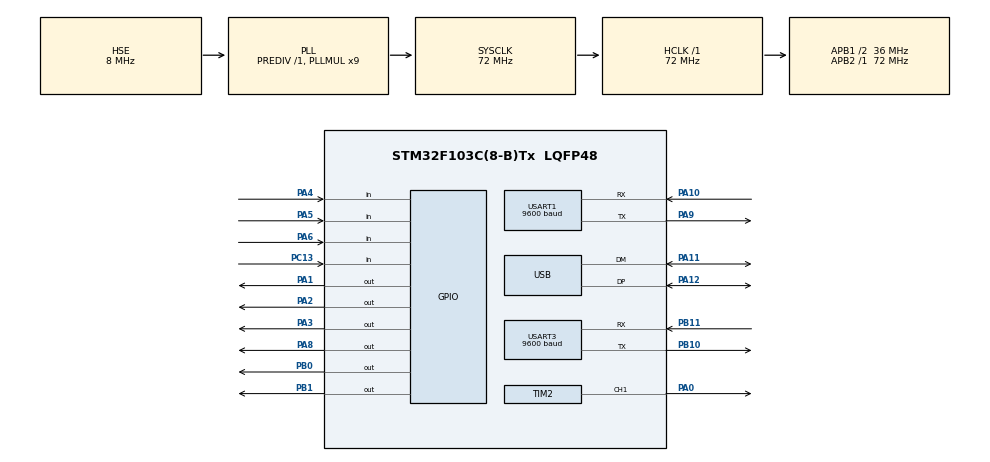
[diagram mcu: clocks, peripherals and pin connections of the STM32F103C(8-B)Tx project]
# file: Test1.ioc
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Mcu.Family=STM32F1
Mcu.Name=STM32F103C(8-B)Tx
Mcu.Package=LQFP48
NVIC.PriorityGroup=NVIC_PRIORITYGROUP_4
NVIC.TIM2_IRQn=true\:0\:0\:false\:false\:true\:true\:true\:true
NVIC.USART1_IRQn=true\:0\:0\:false\:false\:true\:true\:true\:true
NVIC.USB_LP_CAN1_RX0_IRQn=true\:0\:0\:false\:false\:true\:false\:true\:true
PA0-WKUP.Signal=S_TIM2_CH1_ETR
PA1.Signal=GPIO_Output
PA10.Mode=Asynchronous
PA10.Signal=USART1_RX
PA11.Mode=Device
PA11.Signal=USB_DM
PA12.Mode=Device
PA12.Signal=USB_DP
PA2.Signal=GPIO_Output
PA3.Signal=GPIO_Output
PA4.Signal=GPIO_Input
PA5.GPIO_PuPd=GPIO_PULLUP
PA5.Signal=GPIO_Input
PA6.GPIO_PuPd=GPIO_PULLUP
PA6.Signal=GPIO_Input
PA8.Signal=GPIO_Output
PA9.Mode=Asynchronous
PA9.Signal=USART1_TX
PB0.Signal=GPIO_Output
PB1.Signal=GPIO_Output
PB10.Mode=Asynchronous
PB10.Signal=USART3_TX
PB11.Mode=Asynchronous
PB11.Signal=USART3_RX
PC13-TAMPER-RTC.GPIO_PuPd=GPIO_PULLUP
PC13-TAMPER-RTC.Signal=GPIO_Input
PD0-OSC_IN.Mode=HSE-External-Oscillator
PD0-OSC_IN.Signal=RCC_OSC_IN
PD1-OSC_OUT.Mode=HSE-External-Oscillator
PD1-OSC_OUT.Signal=RCC_OSC_OUT
ProjectManager.HeapSize=0x200
ProjectManager.StackSize=0x400
ProjectManager.TargetToolchain=Makefile
RCC.AHBFreq_Value=72000000
RCC.APB1CLKDivider=RCC_HCLK_DIV2
RCC.APB1Freq_Value=36000000
RCC.APB1TimFreq_Value=72000000
RCC.APB2Freq_Value=72000000
RCC.APB2TimFreq_Value=72000000
RCC.HCLKFreq_Value=72000000
RCC.PLLMUL=RCC_PLL_MUL9
RCC.PLLSourceVirtual=RCC_PLLSOURCE_HSE
RCC.SYSCLKFreq_VALUE=72000000
RCC.SYSCLKSource=RCC_SYSCLKSOURCE_PLLCLK
RCC.USBFreq_Value=48000000
RCC.USBPrescaler=RCC_USBCLKSOURCE_PLL_DIV1_5
SH.S_TIM2_CH1_ETR.0=TIM2_CH1,Output Compare1 CH1
TIM2.Channel-Output\ Compare1\ CH1=TIM_CHANNEL_1
TIM2.Period=100
TIM2.Prescaler=7199
USART1.BaudRate=9600
USART1.VirtualMode=VM_ASYNC
USART3.BaudRate=9600
USART3.VirtualMode=VM_ASYNC
USB_DEVICE.CLASS_NAME_FS=CDC
USB_DEVICE.VirtualMode=Cdc
USB_DEVICE.VirtualModeFS=Cdc_FS
VP_SYS_VS_ND.Mode=No_Debug
VP_TIM2_VS_ClockSourceINT.Mode=Internal
VP_USB_DEVICE_VS_USB_DEVICE_CDC_FS.Mode=CDC_FS
board=custom

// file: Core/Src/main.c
/* USER CODE BEGIN Header */
/**
  ******************************************************************************
  * @file           : main.c
  * @brief          : Main program body
  ******************************************************************************
  * @attention
  *
  * Copyright (c) 2024 STMicroelectronics.
  * All rights reserved.
  *
  * This software is licensed under terms that can be found in the LICENSE file
  * in the root directory of this software component.
  * If no LICENSE file comes with this software, it is provided AS-IS.
  *
  ******************************************************************************
  */
/* USER CODE END Header */
#include "main.h"
#include "usb_device.h"
#include <stdlib.h>

/* USER CODE BEGIN Includes */
#include <stdio.h>      // add for printf
#include <string.h>
/* USER CODE END Includes */

TIM_HandleTypeDef htim2;

UART_HandleTypeDef huart1;
UART_HandleTypeDef huart3;

/* USER CODE BEGIN PV */
uint8_t uart_buf[1];
uint8_t ticks;  // timer2 ticks
uint8_t SM_State; // State for the State Machine
uint8_t User_B_Pressed = 0;  // flag for button
/* USER CODE END PV */

void SystemClock_Config(void);
static void MX_GPIO_Init(void);
static void MX_USART1_UART_Init(void);
static void MX_TIM2_Init(void);
static void MX_USART3_UART_Init(void);

/* USER CODE BEGIN 0 */

#ifdef __GNUC__
#define PUTCHAR_PROTOTYPE int __io_putchar(int ch)
#else
#define PUTCHAR_PROTOTYPE int fputc(int ch, FILE *f)
#endif

/**
  * @brief  Retargets the C library printf function to the USART.
  * @param  None
  * @retval None
  */
PUTCHAR_PROTOTYPE
{
  HAL_UART_Transmit(&huart1, (uint8_t *)&ch, 1, 0xFFFF);
  return ch;
}

/* also redefine _write for printf*/
int _write(int fd, char * ptr, int len)
{
  HAL_UART_Transmit(&huart1, (uint8_t *) ptr, len, HAL_MAX_DELAY);
  return len;
}

/* Callback function for UART RX Complete: process incoming character*/
void HAL_UART_RxCpltCallback(UART_HandleTypeDef *huart)
{
  if(uart_buf[0] != '?' ) {
    uart_buf[0]++;  // increment received char to transmit next one
    HAL_UART_Transmit(&huart1, uart_buf, 1, 10);
  }
  else
    printf("Sw Version %d.%d\r\n",SW_VERSION/10, SW_VERSION%10);

  HAL_UART_Receive_IT(&huart1, uart_buf, 1); // reactivate interrupt for next char
}

/* Timer2 Interrupt Service Routine: Blinks LEDs */
void HAL_TIM_PeriodElapsedCallback(TIM_HandleTypeDef *htim2)
{
  if(ticks++ == 100)    // 100 timer2 ticks = 1 second
    ticks=0;   // reset
  switch (ticks) {
    case 10:
      HAL_GPIO_WritePin(GPIOB, GPIO_PIN_0, 1); // Red LED
      HAL_GPIO_WritePin(GPIOB, GPIO_PIN_1, 0);
      HAL_GPIO_WritePin(GPIOA, GPIO_PIN_8, 0);
      break;
    case 25:
      HAL_GPIO_WritePin(GPIOB, GPIO_PIN_0, 0);
      HAL_GPIO_WritePin(GPIOB, GPIO_PIN_1, 1); // Green
      HAL_GPIO_WritePin(GPIOA, GPIO_PIN_8, 0);
      break;
    case 40:
      HAL_GPIO_WritePin(GPIOB, GPIO_PIN_0, 0);
      HAL_GPIO_WritePin(GPIOB, GPIO_PIN_1, 0);
      HAL_GPIO_WritePin(GPIOA, GPIO_PIN_8, 1); // Blue
      break;
    case 55:
      HAL_GPIO_WritePin(GPIOB, GPIO_PIN_0, 0); // all OFF
      HAL_GPIO_WritePin(GPIOB, GPIO_PIN_1, 0);
      HAL_GPIO_WritePin(GPIOA, GPIO_PIN_8, 0);
      break;
  }  // case
}

void shiftOut(uint8_t data) {
  for (int i = 7; i >= 0; i--) {
      HAL_GPIO_WritePin(GPIOA, GPIO_PIN_2, GPIO_PIN_RESET);
      HAL_GPIO_WritePin(GPIOA, GPIO_PIN_1, (data & (1 << i)) ? GPIO_PIN_SET : GPIO_PIN_RESET);
      HAL_GPIO_WritePin(GPIOA, GPIO_PIN_2, GPIO_PIN_SET);
  }
}

void displayLED(uint8_t index) {
  uint8_t data[3] = {0};

  if (index < 24) {
      data[index / 8] = 1 << (index % 8);
  }

  HAL_GPIO_WritePin(GPIOA, GPIO_PIN_3, GPIO_PIN_RESET);
  shiftOut(data[2]);
  shiftOut(data[1]);
  shiftOut(data[0]);
  HAL_GPIO_WritePin(GPIOA, GPIO_PIN_3, GPIO_PIN_SET);
}

uint8_t selectBet() {

  uint8_t selection = 0;

  while (HAL_GPIO_ReadPin(GPIOA, GPIO_PIN_5) == GPIO_PIN_SET) {
      if (HAL_GPIO_ReadPin(GPIOA, GPIO_PIN_4) == GPIO_PIN_RESET) {
          selection = (selection + 1) % 24;
          displayLED(selection);
          HAL_Delay(200);
      }
  }

  HAL_Delay(500);
  return selection;
}

void rouletteGame(uint8_t bet) {
    const uint8_t totalLEDs = 24;

    static uint8_t seeded = 0;
    if (!seeded) {
        srand(HAL_GetTick());
        seeded = 1;
    }

    uint8_t current = 0;
    int delayTime = 50;

    int totalSteps = 60 + rand() % 41;

    for (int i = 0; i < totalSteps; i++) {
        displayLED(current);
        HAL_Delay(delayTime);

        current = (current + 1) % totalLEDs;

        if (i > totalSteps - 20) delayTime += 5;
    }

    displayLED(current);
    HAL_Delay(1000);

    if (current == bet) {
        for (int i = 0; i < 5; i++) {
            displayLED(current);
            HAL_Delay(300);
            displayLED(255);
            HAL_Delay(300);
            printf("Ai castigat!\n\r");
        }
    } else {
        HAL_Delay(2000);
        printf("Ai pierdut!\n\r");
    }
}

/* USER CODE END 0 */

int main(void)
{

  /* USER CODE BEGIN 1 */
  /****************************************************************************/
  /********************************      MAIN        **************************/
  /****************************************************************************/

  /* USER CODE END 1 */

  /* MCU Configuration--------------------------------------------------------*/

  /* Reset of all peripherals, Initializes the Flash interface and the Systick. */
  HAL_Init();

  /* Configure the system clock */
  SystemClock_Config();

  /* Initialize all configured peripherals */
  MX_GPIO_Init();
  MX_USART1_UART_Init();
  MX_USB_DEVICE_Init();
  MX_TIM2_Init();
  MX_USART3_UART_Init();
  /* USER CODE BEGIN 2 */
  HAL_UART_Receive_IT(&huart1, uart_buf, 1); // enable UART Rx IT=interrupt
  HAL_TIM_Base_Start_IT(&htim2);  //enable Timer 2 interrupt
  /* USER CODE END 2 */

  /* Infinite loop */
  /* USER CODE BEGIN WHILE */

  /*********************************** main loop *************************************************/

  while (1)
  {
    /* USER CODE END WHILE */

    /* USER CODE BEGIN 3 */
   if( HAL_GPIO_ReadPin(GPIOC, GPIO_PIN_13) == GPIO_PIN_RESET ) {     // PORTC.13 ==0 means button pressed
        HAL_Delay(25);                                                 // wait 25 milliseconds
        if( HAL_GPIO_ReadPin(GPIOC, GPIO_PIN_13) == GPIO_PIN_RESET ) { // then read again for debouncing
          while( HAL_GPIO_ReadPin(GPIOC, GPIO_PIN_13) == GPIO_PIN_RESET); // wait for button release
          User_B_Pressed = 1;
          printf("USER\n\r");
        }
    }

    switch(SM_State) {     // main State Machine
      case SM_START:
        printf("Code version %d.%d starting...\n\r", SW_VERSION/10, SW_VERSION%10);
        SM_State=SM_FAST_BLINK;
        break;

      case SM_FAST_BLINK:
        if(User_B_Pressed) {
          htim2.Init.Period = 300;    // change timer counter period 3x slower
          if (HAL_TIM_Base_Init(&htim2) != HAL_OK) Error_Handler();  // reinitialize timer
          User_B_Pressed = 0; // reset flag because it was processed
          SM_State = SM_SLOW_BLINK;
        }
        break;

      case SM_SLOW_BLINK:
        if(User_B_Pressed) {
          htim2.Init.Period = 100;  // timer counter period original value
          if (HAL_TIM_Base_Init(&htim2) != HAL_OK) Error_Handler(); // reinitialize timer
          User_B_Pressed = 0;
          SM_State = SM_FAST_BLINK;
        }
        break;

      default:  // this shouldn't happen
        SM_State = SM_START;
    } // switch

    if (HAL_GPIO_ReadPin(GPIOA, GPIO_PIN_6) == GPIO_PIN_RESET) {
      HAL_Delay(50);
      if (HAL_GPIO_ReadPin(GPIOA, GPIO_PIN_6) == GPIO_PIN_RESET) {
          while(HAL_GPIO_ReadPin(GPIOA, GPIO_PIN_6) == GPIO_PIN_RESET);
          printf("Va rugam alegeti o pozitie pe care doriti sa pariati!\n\r");
          uint8_t bet = selectBet();
          rouletteGame(bet);
          break;
      }
  }

  }

  /* USER CODE END 3 */
}

void SystemClock_Config(void)
{
  RCC_OscInitTypeDef RCC_OscInitStruct = {0};
  RCC_ClkInitTypeDef RCC_ClkInitStruct = {0};
  RCC_PeriphCLKInitTypeDef PeriphClkInit = {0};

  /** Initializes the RCC Oscillators according to the specified parameters
  * in the RCC_OscInitTypeDef structure.
  */
  RCC_OscInitStruct.OscillatorType = RCC_OSCILLATORTYPE_HSE;
  RCC_OscInitStruct.HSEState = RCC_HSE_ON;
  RCC_OscInitStruct.HSEPredivValue = RCC_HSE_PREDIV_DIV1;
  RCC_OscInitStruct.HSIState = RCC_HSI_ON;
  RCC_OscInitStruct.PLL.PLLState = RCC_PLL_ON;
  RCC_OscInitStruct.PLL.PLLSource = RCC_PLLSOURCE_HSE;
  RCC_OscInitStruct.PLL.PLLMUL = RCC_PLL_MUL9;
  if (HAL_RCC_OscConfig(&RCC_OscInitStruct) != HAL_OK)
  {
    Error_Handler();
  }

  /** Initializes the CPU, AHB and APB buses clocks
  */
  RCC_ClkInitStruct.ClockType = RCC_CLOCKTYPE_HCLK|RCC_CLOCKTYPE_SYSCLK
                              |RCC_CLOCKTYPE_PCLK1|RCC_CLOCKTYPE_PCLK2;
  RCC_ClkInitStruct.SYSCLKSource = RCC_SYSCLKSOURCE_PLLCLK;
  RCC_ClkInitStruct.AHBCLKDivider = RCC_SYSCLK_DIV1;
  RCC_ClkInitStruct.APB1CLKDivider = RCC_HCLK_DIV2;
  RCC_ClkInitStruct.APB2CLKDivider = RCC_HCLK_DIV1;

  if (HAL_RCC_ClockConfig(&RCC_ClkInitStruct, FLASH_LATENCY_2) != HAL_OK)
  {
    Error_Handler();
  }
  PeriphClkInit.PeriphClockSelection = RCC_PERIPHCLK_USB;
  PeriphClkInit.UsbClockSelection = RCC_USBCLKSOURCE_PLL_DIV1_5;
  if (HAL_RCCEx_PeriphCLKConfig(&PeriphClkInit) != HAL_OK)
  {
    Error_Handler();
  }
}

static void MX_TIM2_Init(void)
{

  TIM_ClockConfigTypeDef sClockSourceConfig = {0};
  TIM_MasterConfigTypeDef sMasterConfig = {0};
  TIM_OC_InitTypeDef sConfigOC = {0};

  htim2.Instance = TIM2;
  htim2.Init.Prescaler = 7199;
  htim2.Init.CounterMode = TIM_COUNTERMODE_UP;
  htim2.Init.Period = 100;
  htim2.Init.ClockDivision = TIM_CLOCKDIVISION_DIV1;
  htim2.Init.AutoReloadPreload = TIM_AUTORELOAD_PRELOAD_DISABLE;
  if (HAL_TIM_Base_Init(&htim2) != HAL_OK)
  {
    Error_Handler();
  }
  sClockSourceConfig.ClockSource = TIM_CLOCKSOURCE_INTERNAL;
  if (HAL_TIM_ConfigClockSource(&htim2, &sClockSourceConfig) != HAL_OK)
  {
    Error_Handler();
  }
  if (HAL_TIM_OC_Init(&htim2) != HAL_OK)
  {
    Error_Handler();
  }
  sMasterConfig.MasterOutputTrigger = TIM_TRGO_RESET;
  sMasterConfig.MasterSlaveMode = TIM_MASTERSLAVEMODE_DISABLE;
  if (HAL_TIMEx_MasterConfigSynchronization(&htim2, &sMasterConfig) != HAL_OK)
  {
    Error_Handler();
  }
  sConfigOC.OCMode = TIM_OCMODE_TIMING;
  sConfigOC.Pulse = 0;
  sConfigOC.OCPolarity = TIM_OCPOLARITY_HIGH;
  sConfigOC.OCFastMode = TIM_OCFAST_DISABLE;
  if (HAL_TIM_OC_ConfigChannel(&htim2, &sConfigOC, TIM_CHANNEL_1) != HAL_OK)
  {
    Error_Handler();
  }
  HAL_TIM_MspPostInit(&htim2);

}

static void MX_USART1_UART_Init(void)
{

  huart1.Instance = USART1;
  huart1.Init.BaudRate = 9600;
  huart1.Init.WordLength = UART_WORDLENGTH_8B;
  huart1.Init.StopBits = UART_STOPBITS_1;
  huart1.Init.Parity = UART_PARITY_NONE;
  huart1.Init.Mode = UART_MODE_TX_RX;
  huart1.Init.HwFlowCtl = UART_HWCONTROL_NONE;
  huart1.Init.OverSampling = UART_OVERSAMPLING_16;
  if (HAL_UART_Init(&huart1) != HAL_OK)
  {
    Error_Handler();
  }

}

static void MX_USART3_UART_Init(void)
{

  huart3.Instance = USART3;
  huart3.Init.BaudRate = 9600;
  huart3.Init.WordLength = UART_WORDLENGTH_8B;
  huart3.Init.StopBits = UART_STOPBITS_1;
  huart3.Init.Parity = UART_PARITY_NONE;
  huart3.Init.Mode = UART_MODE_TX_RX;
  huart3.Init.HwFlowCtl = UART_HWCONTROL_NONE;
  huart3.Init.OverSampling = UART_OVERSAMPLING_16;
  if (HAL_UART_Init(&huart3) != HAL_OK)
  {
    Error_Handler();
  }

}

static void MX_GPIO_Init(void)
{
  GPIO_InitTypeDef GPIO_InitStruct = {0};

  /* GPIO Ports Clock Enable */
  __HAL_RCC_GPIOC_CLK_ENABLE();
  __HAL_RCC_GPIOD_CLK_ENABLE();
  __HAL_RCC_GPIOA_CLK_ENABLE();
  __HAL_RCC_GPIOB_CLK_ENABLE();

  /*Configure GPIO pin Output Level */
  HAL_GPIO_WritePin(GPIOA, GPIO_PIN_1|GPIO_PIN_2|GPIO_PIN_3|GPIO_PIN_8, GPIO_PIN_RESET);

  /*Configure GPIO pin Output Level */
  HAL_GPIO_WritePin(GPIOB, GPIO_PIN_0|GPIO_PIN_1, GPIO_PIN_RESET);

  /*Configure GPIO pin : PC13 */
  GPIO_InitStruct.Pin = GPIO_PIN_13;
  GPIO_InitStruct.Mode = GPIO_MODE_INPUT;
  GPIO_InitStruct.Pull = GPIO_PULLUP;
  HAL_GPIO_Init(GPIOC, &GPIO_InitStruct);

  /*Configure GPIO pins : PA1 PA2 PA3 PA8 */
  GPIO_InitStruct.Pin = GPIO_PIN_1|GPIO_PIN_2|GPIO_PIN_3|GPIO_PIN_8;
  GPIO_InitStruct.Mode = GPIO_MODE_OUTPUT_PP;
  GPIO_InitStruct.Pull = GPIO_NOPULL;
  GPIO_InitStruct.Speed = GPIO_SPEED_FREQ_LOW;
  HAL_GPIO_Init(GPIOA, &GPIO_InitStruct);

  /*Configure GPIO pins : PA4 PA5 PA6 */
  GPIO_InitStruct.Pin = GPIO_PIN_4|GPIO_PIN_5|GPIO_PIN_6;
  GPIO_InitStruct.Mode = GPIO_MODE_INPUT;
  GPIO_InitStruct.Pull = GPIO_PULLUP;
  HAL_GPIO_Init(GPIOA, &GPIO_InitStruct);

  /*Configure GPIO pins : PB0 PB1 */
  GPIO_InitStruct.Pin = GPIO_PIN_0|GPIO_PIN_1;
  GPIO_InitStruct.Mode = GPIO_MODE_OUTPUT_PP;
  GPIO_InitStruct.Pull = GPIO_NOPULL;
  GPIO_InitStruct.Speed = GPIO_SPEED_FREQ_LOW;
  HAL_GPIO_Init(GPIOB, &GPIO_InitStruct);

}

void Error_Handler(void)
{
  __disable_irq();
  while (1)
  {
  }
}
